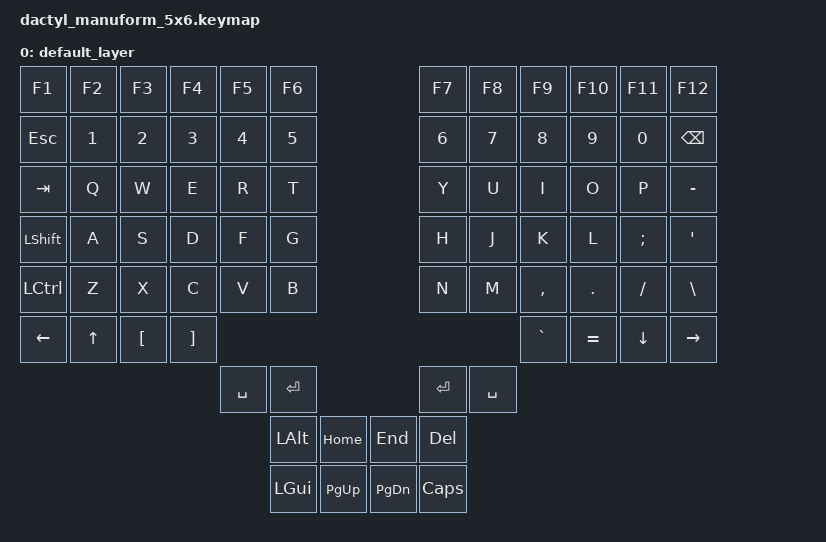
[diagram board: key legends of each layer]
#include <behaviors.dtsi>
#include <dt-bindings/zmk/bt.h>
#include <dt-bindings/zmk/keys.h>

#define DEFAULT 0
#define LWR 1
#define RSE 2
#define ADJ 3

/ {
    combos { compatible = "zmk,combos"; };

    keymap {
        compatible = "zmk,keymap";

        default_layer {
            bindings = <
&kp F1     &kp F2  &kp F3    &kp F4  &kp F5     &kp F6                                             &kp F7     &kp F8         &kp F9     &kp F10    &kp F11    &kp F12
&kp ESC    &kp N1  &kp N2    &kp N3  &kp N4     &kp N5                                             &kp N6     &kp N7         &kp N8     &kp N9     &kp N0     &kp BACKSPACE
&kp TAB    &kp Q   &kp W     &kp E   &kp R      &kp T                                              &kp Y      &kp U          &kp I      &kp O      &kp P      &kp MINUS
&kp LSHFT  &kp A   &kp S     &kp D   &kp F      &kp G                                              &kp H      &kp J          &kp K      &kp L      &kp SEMI   &kp SQT
&kp LCTRL  &kp Z   &kp X     &kp C   &kp V      &kp B                                              &kp N      &kp M          &kp COMMA  &kp DOT    &kp SLASH  &kp BSLH
&kp LEFT   &kp UP  &kp LBKT  &kp RBKT                                                                                        &kp GRAVE  &kp EQUAL  &kp DOWN   &kp RIGHT
                                   &kp SPACE  &kp RET                                            &kp RET    &kp SPACE
                                              &kp LEFT_ALT    &kp HOME             &kp END       &kp DEL
                                              &kp LEFT_GUI    &kp PG_UP            &kp PG_DN     &kp CAPS
                >;
            };

        };
    };
